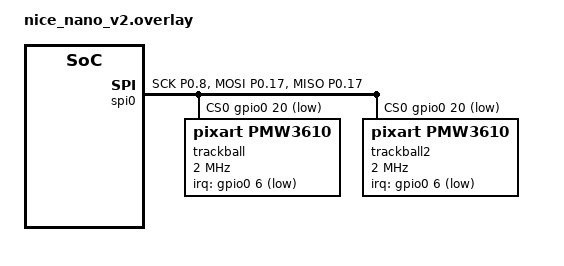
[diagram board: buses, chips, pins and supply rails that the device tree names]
// vim: set ft=dts:

#include <dt-bindings/zmk/input_transform.h>

&pinctrl {
    spi0_default: spi0_default {
        group1 {
            psels 
              = <NRF_PSEL(SPIM_SCK, 0, 8)>
              , <NRF_PSEL(SPIM_MOSI, 0, 17)>
              , <NRF_PSEL(SPIM_MISO, 0, 17)>
              ;
        };
    };

    spi0_sleep: spi0_sleep {
        group1 {
            psels 
              = <NRF_PSEL(SPIM_SCK, 0, 8)>
              , <NRF_PSEL(SPIM_MOSI, 0, 17)>
              , <NRF_PSEL(SPIM_MISO, 0, 17)>
              ;
            low-power-enable;
        };
    };
};

&spi0 {
  status = "disabled";
  compatible = "nordic,nrf-spim";
  pinctrl-0 = <&spi0_default>;
  pinctrl-1 = <&spi0_sleep>;
  pinctrl-names = "default", "sleep";
};

&spi0 {
  status = "okay";
  cs-gpios = <&gpio0 20 GPIO_ACTIVE_LOW>;

  trackball: trackball@0 {
    status = "okay";
    compatible = "pixart,pmw3610";
    reg = <0>;
    spi-max-frequency = <2000000>;
    irq-gpios = <&gpio0 6 (GPIO_ACTIVE_LOW | GPIO_PULL_UP)>;
    cpi = <1200>;
    evt-type = <INPUT_EV_REL>;
    x-input-code = <INPUT_REL_X>;
    y-input-code = <INPUT_REL_Y>;
  };

  trackball2: trackball2@0 {
    status = "okay";
    compatible = "pixart,pmw3610";
    reg = <0>;
    spi-max-frequency = <2000000>;
    irq-gpios = <&gpio0 6 (GPIO_ACTIVE_LOW | GPIO_PULL_UP)>;
    cpi = <600>;
    evt-type = <INPUT_EV_REL>;
    x-input-code = <INPUT_REL_X>;
    y-input-code = <INPUT_REL_Y>;
  };
};
